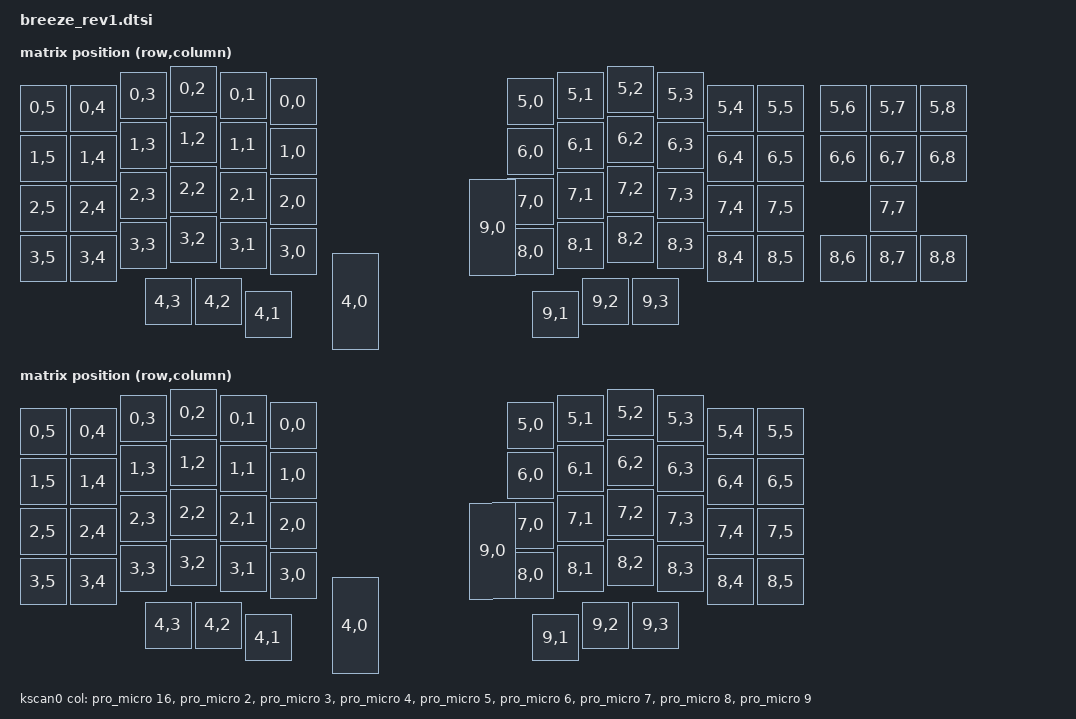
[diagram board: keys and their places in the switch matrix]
/*
 * Copyright (c) 2022 The ZMK Contributors
 *
 * SPDX-License-Identifier: MIT
 */

#include <dt-bindings/zmk/matrix_transform.h>

/ {
	chosen {
		zmk,kscan = &kscan0;
	};

	physical_layout0: physical_layout_0 {
        compatible = "zmk,physical-layout";
        display-name = "Default";

        kscan = <&kscan0>;
        transform = <&default_transform>;

        keys  //                     w   h    x    y     rot    rx    ry
            = <&key_physical_attrs 100 100    0   38       0     0     0>
            , <&key_physical_attrs 100 100  100   38       0     0     0>
            , <&key_physical_attrs 100 100  200   12       0     0     0>
            , <&key_physical_attrs 100 100  300    0       0     0     0>
            , <&key_physical_attrs 100 100  400   12       0     0     0>
            , <&key_physical_attrs 100 100  500   25       0     0     0>
            , <&key_physical_attrs 100 100  975   25       0     0     0>
            , <&key_physical_attrs 100 100 1075   12       0     0     0>
            , <&key_physical_attrs 100 100 1175    0       0     0     0>
            , <&key_physical_attrs 100 100 1275   12       0     0     0>
            , <&key_physical_attrs 100 100 1375   38       0     0     0>
            , <&key_physical_attrs 100 100 1475   38       0     0     0>
            , <&key_physical_attrs 100 100 1600   38       0     0     0>
            , <&key_physical_attrs 100 100 1700   38       0     0     0>
            , <&key_physical_attrs 100 100 1800   38       0     0     0>
            , <&key_physical_attrs 100 100    0  138       0     0     0>
            , <&key_physical_attrs 100 100  100  138       0     0     0>
            , <&key_physical_attrs 100 100  200  112       0     0     0>
            , <&key_physical_attrs 100 100  300  100       0     0     0>
            , <&key_physical_attrs 100 100  400  112       0     0     0>
            , <&key_physical_attrs 100 100  500  125       0     0     0>
            , <&key_physical_attrs 100 100  975  125       0     0     0>
            , <&key_physical_attrs 100 100 1075  112       0     0     0>
            , <&key_physical_attrs 100 100 1175  100       0     0     0>
            , <&key_physical_attrs 100 100 1275  112       0     0     0>
            , <&key_physical_attrs 100 100 1375  138       0     0     0>
            , <&key_physical_attrs 100 100 1475  138       0     0     0>
            , <&key_physical_attrs 100 100 1600  138       0     0     0>
            , <&key_physical_attrs 100 100 1700  138       0     0     0>
            , <&key_physical_attrs 100 100 1800  138       0     0     0>
            , <&key_physical_attrs 100 100    0  238       0     0     0>
            , <&key_physical_attrs 100 100  100  238       0     0     0>
            , <&key_physical_attrs 100 100  200  212       0     0     0>
            , <&key_physical_attrs 100 100  300  200       0     0     0>
            , <&key_physical_attrs 100 100  400  212       0     0     0>
            , <&key_physical_attrs 100 100  500  225       0     0     0>
            , <&key_physical_attrs 100 100  975  225       0     0     0>
            , <&key_physical_attrs 100 100 1075  212       0     0     0>
            , <&key_physical_attrs 100 100 1175  200       0     0     0>
            , <&key_physical_attrs 100 100 1275  212       0     0     0>
            , <&key_physical_attrs 100 100 1375  238       0     0     0>
            , <&key_physical_attrs 100 100 1475  238       0     0     0>
            , <&key_physical_attrs 100 100 1700  238       0     0     0>
            , <&key_physical_attrs 100 100    0  338       0     0     0>
            , <&key_physical_attrs 100 100  100  338       0     0     0>
            , <&key_physical_attrs 100 100  200  312       0     0     0>
            , <&key_physical_attrs 100 100  300  300       0     0     0>
            , <&key_physical_attrs 100 100  400  312       0     0     0>
            , <&key_physical_attrs 100 100  500  325       0     0     0>
            , <&key_physical_attrs 100 100  975  325       0     0     0>
            , <&key_physical_attrs 100 100 1075  312       0     0     0>
            , <&key_physical_attrs 100 100 1175  300       0     0     0>
            , <&key_physical_attrs 100 100 1275  312       0     0     0>
            , <&key_physical_attrs 100 100 1375  338       0     0     0>
            , <&key_physical_attrs 100 100 1475  338       0     0     0>
            , <&key_physical_attrs 100 100 1600  338       0     0     0>
            , <&key_physical_attrs 100 100 1700  338       0     0     0>
            , <&key_physical_attrs 100 100 1800  338       0     0     0>
            , <&key_physical_attrs 100 100  250  425       0     0     0>
            , <&key_physical_attrs 100 100  350  425       0     0     0>
            , <&key_physical_attrs 100 100  450  450       0     0     0>
            , <&key_physical_attrs 100 200  625  375      30   650   425>
            , <&key_physical_attrs 100 200  900  225   (-30)  1225   450>
            , <&key_physical_attrs 100 100 1025  450       0     0     0>
            , <&key_physical_attrs 100 100 1125  425       0     0     0>
            , <&key_physical_attrs 100 100 1225  425       0     0     0>
            ;
		};

	
physical_layout1: physical_layout_1 {
        compatible = "zmk,physical-layout";
        display-name = "Five Column";

        kscan = <&kscan0>;
        transform = <&five_column_transform>;

        keys  //                     w   h    x    y     rot    rx    ry
            = <&key_physical_attrs 100 100    0   38       0     0     0>
            , <&key_physical_attrs 100 100  100   38       0     0     0>
            , <&key_physical_attrs 100 100  200   12       0     0     0>
            , <&key_physical_attrs 100 100  300    0       0     0     0>
            , <&key_physical_attrs 100 100  400   12       0     0     0>
            , <&key_physical_attrs 100 100  500   25       0     0     0>
            , <&key_physical_attrs 100 100  975   25       0     0     0>
            , <&key_physical_attrs 100 100 1075   12       0     0     0>
            , <&key_physical_attrs 100 100 1175    0       0     0     0>
            , <&key_physical_attrs 100 100 1275   12       0     0     0>
            , <&key_physical_attrs 100 100 1375   38       0     0     0>
            , <&key_physical_attrs 100 100 1475   38       0     0     0>
            , <&key_physical_attrs 100 100    0  138       0     0     0>
            , <&key_physical_attrs 100 100  100  138       0     0     0>
            , <&key_physical_attrs 100 100  200  112       0     0     0>
            , <&key_physical_attrs 100 100  300  100       0     0     0>
            , <&key_physical_attrs 100 100  400  112       0     0     0>
            , <&key_physical_attrs 100 100  500  125       0     0     0>
            , <&key_physical_attrs 100 100  975  125       0     0     0>
            , <&key_physical_attrs 100 100 1075  112       0     0     0>
            , <&key_physical_attrs 100 100 1175  100       0     0     0>
            , <&key_physical_attrs 100 100 1275  112       0     0     0>
            , <&key_physical_attrs 100 100 1375  138       0     0     0>
            , <&key_physical_attrs 100 100 1475  138       0     0     0>
            , <&key_physical_attrs 100 100    0  238       0     0     0>
            , <&key_physical_attrs 100 100  100  238       0     0     0>
            , <&key_physical_attrs 100 100  200  212       0     0     0>
            , <&key_physical_attrs 100 100  300  200       0     0     0>
            , <&key_physical_attrs 100 100  400  212       0     0     0>
            , <&key_physical_attrs 100 100  500  225       0     0     0>
            , <&key_physical_attrs 100 100  975  225       0     0     0>
            , <&key_physical_attrs 100 100 1075  212       0     0     0>
            , <&key_physical_attrs 100 100 1175  200       0     0     0>
            , <&key_physical_attrs 100 100 1275  212       0     0     0>
            , <&key_physical_attrs 100 100 1375  238       0     0     0>
            , <&key_physical_attrs 100 100 1475  238       0     0     0>
            , <&key_physical_attrs 100 100    0  338       0     0     0>
            , <&key_physical_attrs 100 100  100  338       0     0     0>
            , <&key_physical_attrs 100 100  200  312       0     0     0>
            , <&key_physical_attrs 100 100  300  300       0     0     0>
            , <&key_physical_attrs 100 100  400  312       0     0     0>
            , <&key_physical_attrs 100 100  500  325       0     0     0>
            , <&key_physical_attrs 100 100  975  325       0     0     0>
            , <&key_physical_attrs 100 100 1075  312       0     0     0>
            , <&key_physical_attrs 100 100 1175  300       0     0     0>
            , <&key_physical_attrs 100 100 1275  312       0     0     0>
            , <&key_physical_attrs 100 100 1375  338       0     0     0>
            , <&key_physical_attrs 100 100 1475  338       0     0     0>
            , <&key_physical_attrs 100 100  250  425       0     0     0>
            , <&key_physical_attrs 100 100  350  425       0     0     0>
            , <&key_physical_attrs 100 100  450  450       0     0     0>
            , <&key_physical_attrs 100 200  625  375      30   650   425>
            , <&key_physical_attrs 100 200  900  225   (-30)  1225   450>
            , <&key_physical_attrs 100 100 1025  450       0     0     0>
            , <&key_physical_attrs 100 100 1125  425       0     0     0>
            , <&key_physical_attrs 100 100 1225  425       0     0     0>
            ;
    };
	default_transform: keymap_transform_0 {
		compatible = "zmk,matrix-transform";
		columns = <9>;
		rows = <10>;
// | SW6  | SW5  | SW4  | SW3  | SW2  | SW1  |                 | SW1  | SW2  | SW3  | SW4  | SW5  | SW6  | MC1  | MC2  | MC3  |
// | SW12 | SW11 | SW10 | SW9  | SW8  | SW7  |                 | SW7  | SW8  | SW9  | SW10 | SW11 | SW12 | MC4  | MC5  | MC6  |
// | SW18 | SW17 | SW16 | SW15 | SW14 | SW13 |                 | SW13 | SW14 | SW15 | SW16 | SW17 | SW18 |      |  ↑   |      |
// | SW24 | SW23 | SW22 | SW21 | SW20 | SW19 |                 | SW19 | SW20 | SW21 | SW22 | SW23 | SW24 |  ←   |  ↓   |  →   |
//                      | TC4  | TC3  | TC2  | TC1  |   | TC1  | TC2  | TC3  | TC4  |
		map = <
RC(0,5) RC(0,4) RC(0,3) RC(0,2) RC(0,1) RC(0,0)                 RC(5,0) RC(5,1) RC(5,2) RC(5,3) RC(5,4) RC(5,5) RC(5,6) RC(5,7) RC(5,8)
RC(1,5) RC(1,4) RC(1,3) RC(1,2) RC(1,1) RC(1,0)                 RC(6,0) RC(6,1) RC(6,2) RC(6,3) RC(6,4) RC(6,5) RC(6,6) RC(6,7) RC(6,8)
RC(2,5) RC(2,4) RC(2,3) RC(2,2) RC(2,1) RC(2,0)                 RC(7,0) RC(7,1) RC(7,2) RC(7,3) RC(7,4) RC(7,5)         RC(7,7)
RC(3,5) RC(3,4) RC(3,3) RC(3,2) RC(3,1) RC(3,0)                 RC(8,0) RC(8,1) RC(8,2) RC(8,3) RC(8,4) RC(8,5) RC(8,6) RC(8,7) RC(8,8)
                        RC(4,3) RC(4,2) RC(4,1) RC(4,0) RC(9,0) RC(9,1) RC(9,2) RC(9,3)
		>;
	};

	five_column_transform: keymap_transform_1 {
		compatible = "zmk,matrix-transform";
		columns = <6>;
		rows = <10>;
// | SW6  | SW5  | SW4  | SW3  | SW2  | SW1  |                 | SW1  | SW2  | SW3  | SW4  | SW5  | SW6  |
// | SW12 | SW11 | SW10 | SW9  | SW8  | SW7  |                 | SW7  | SW8  | SW9  | SW10 | SW11 | SW12 |
// | SW18 | SW17 | SW16 | SW15 | SW14 | SW13 |                 | SW13 | SW14 | SW15 | SW16 | SW17 | SW18 |
// | SW24 | SW23 | SW22 | SW21 | SW20 | SW19 |                 | SW19 | SW20 | SW21 | SW22 | SW23 | SW24 |
//                      | TC4  | TC3  | TC2  | TC1  |   | TC1  | TC2  | TC3  | TC4  |
		map = <
RC(0,5) RC(0,4) RC(0,3) RC(0,2) RC(0,1) RC(0,0)                 RC(5,0) RC(5,1) RC(5,2) RC(5,3) RC(5,4) RC(5,5)
RC(1,5) RC(1,4) RC(1,3) RC(1,2) RC(1,1) RC(1,0)                 RC(6,0) RC(6,1) RC(6,2) RC(6,3) RC(6,4) RC(6,5)
RC(2,5) RC(2,4) RC(2,3) RC(2,2) RC(2,1) RC(2,0)                 RC(7,0) RC(7,1) RC(7,2) RC(7,3) RC(7,4) RC(7,5)
RC(3,5) RC(3,4) RC(3,3) RC(3,2) RC(3,1) RC(3,0)                 RC(8,0) RC(8,1) RC(8,2) RC(8,3) RC(8,4) RC(8,5)
                        RC(4,3) RC(4,2) RC(4,1) RC(4,0) RC(9,0) RC(9,1) RC(9,2) RC(9,3)
		>;
	};


	kscan0: kscan {
		compatible = "zmk,kscan-gpio-matrix";
		label = "KSCAN";

		diode-direction = "col2row";
		col-gpios
			= <&pro_micro 16 GPIO_ACTIVE_HIGH>
			, <&pro_micro 2  GPIO_ACTIVE_HIGH>
			, <&pro_micro 3  GPIO_ACTIVE_HIGH>
			, <&pro_micro 4  GPIO_ACTIVE_HIGH>
			, <&pro_micro 5  GPIO_ACTIVE_HIGH>
			, <&pro_micro 6  GPIO_ACTIVE_HIGH>
			, <&pro_micro 7  GPIO_ACTIVE_HIGH>
			, <&pro_micro 8  GPIO_ACTIVE_HIGH>
			, <&pro_micro 9  GPIO_ACTIVE_HIGH>
			;
	};
};
